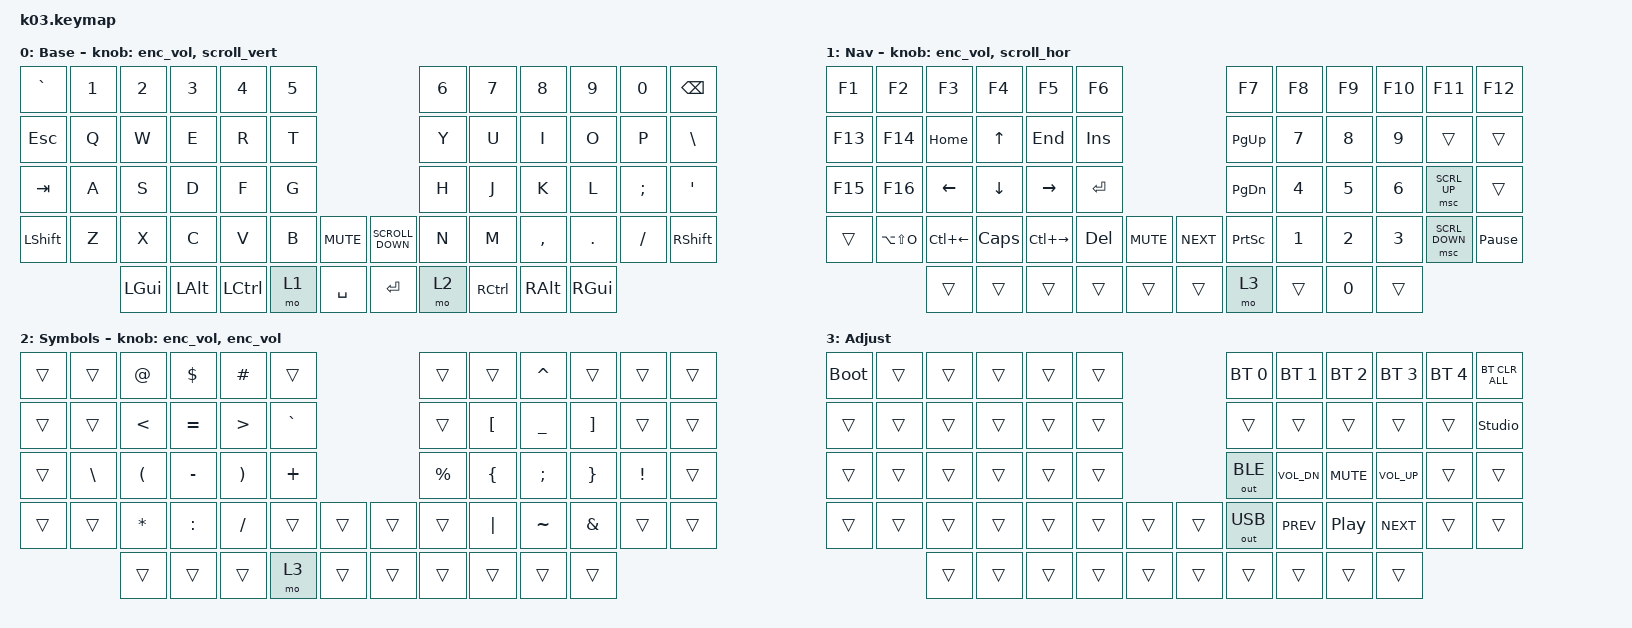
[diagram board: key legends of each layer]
#include "keys_ru.h"
#include <behaviors.dtsi>
#include <dt-bindings/zmk/bt.h>
#include <dt-bindings/zmk/keys.h>
#include <dt-bindings/zmk/outputs.h>
#include <dt-bindings/zmk/pointing.h>

/ {
    behaviors {
        enc_vol: enc_vol {
            compatible = "zmk,behavior-sensor-rotate";
            label = "ENC_VOL";
            #sensor-binding-cells = <0>;
            bindings = <&kp C_VOL_UP>, <&kp C_VOL_DN>;
        };

        scroll_vert: scroll_vert {
            compatible = "zmk,behavior-sensor-rotate";
            label = "SCROLL_VERT";
            #sensor-binding-cells = <0>;
            bindings = <&msc SCRL_UP>, <&msc SCRL_DOWN>;
        };

        scroll_hor: scroll_hor {
            compatible = "zmk,behavior-sensor-rotate";
            label = "SCROLL_HOR";
            #sensor-binding-cells = <0>;
            bindings = <&msc SCRL_RIGHT>, <&msc SCRL_LEFT>;
        };
    };

    keymap {
        compatible = "zmk,keymap";

        base {
            bindings = <
&kp GRAVE  &kp N1  &kp N2    &kp N3    &kp N4     &kp N5                                   &kp N6  &kp N7     &kp N8     &kp N9    &kp N0    &kp BSPC
&kp ESC    &kp Q   &kp W     &kp E     &kp R      &kp T                                    &kp Y   &kp U      &kp I      &kp O     &kp P     &kp BSLH
&kp TAB    &kp A   &kp S     &kp D     &kp F      &kp G                                    &kp H   &kp J      &kp K      &kp L     &kp SEMI  &kp SQT
&kp LSHFT  &kp Z   &kp X     &kp C     &kp V      &kp B   &kp K_MUTE    &kp K_SCROLL_DOWN  &kp N   &kp M      &kp COMMA  &kp DOT   &kp FSLH  &kp RSHFT
                   &kp LGUI  &kp LALT  &kp LCTRL  &mo 1   &kp SPACE     &kp ENTER          &mo 2   &kp RCTRL  &kp RALT   &kp RGUI
            >;

            display-name = "Base";
            sensor-bindings = <&enc_vol>, <&scroll_vert>;
        };

        nav {
            bindings = <
&kp F1   &kp F2         &kp F3        &kp F4    &kp F5         &kp F6                             &kp F7           &kp F8  &kp F9  &kp F10  &kp F11         &kp F12
&kp F13  &kp F14        &kp HOME      &kp UP    &kp END        &kp INS                            &kp PG_UP        &kp N7  &kp N8  &kp N9   &trans          &trans
&kp F15  &kp F16        &kp LEFT      &kp DOWN  &kp RIGHT      &kp RET                            &kp PG_DN        &kp N4  &kp N5  &kp N6   &msc SCRL_UP    &trans
&trans   &kp LA(LS(O))  &kp LC(LEFT)  &kp CAPS  &kp LC(RIGHT)  &kp DEL  &kp K_MUTE    &kp C_NEXT  &kp PRINTSCREEN  &kp N1  &kp N2  &kp N3   &msc SCRL_DOWN  &kp PAUSE_BREAK
                        &trans        &trans    &trans         &trans   &trans        &trans      &mo 3            &trans  &kp N0  &trans
            >;

            display-name = "Nav";
            sensor-bindings = <&enc_vol>, <&scroll_hor>;
        };

        sym {
            bindings = <
&trans  &trans    &kp AT    &kp DLLR   &kp HASH  &trans                       &trans     &trans    &kp CARET  &trans    &trans    &trans
&trans  &trans    &kp LT    &kp EQUAL  &kp GT    &kp GRAVE                    &trans     &kp LBKT  &kp UNDER  &kp RBKT  &trans    &trans
&trans  &kp BSLH  &kp LPAR  &kp MINUS  &kp RPAR  &kp PLUS                     &kp PRCNT  &kp LBRC  &kp SEMI   &kp RBRC  &kp EXCL  &trans
&trans  &trans    &kp STAR  &kp COLON  &kp FSLH  &trans     &trans    &trans  &trans     &kp PIPE  &kp TILDE  &kp AMPS  &trans    &trans
                  &trans    &trans     &trans    &mo 3      &trans    &trans  &trans     &trans    &trans     &trans
            >;

            display-name = "Symbols";
            sensor-bindings = <&enc_vol>, <&enc_vol>;
        };

        adj {
            bindings = <
&bootloader  &trans  &trans  &trans  &trans  &trans                    &bt BT_SEL 0  &bt BT_SEL 1  &bt BT_SEL 2      &bt BT_SEL 3  &bt BT_SEL 4  &bt BT_CLR_ALL
&trans       &trans  &trans  &trans  &trans  &trans                    &trans        &trans        &trans            &trans        &trans        &studio_unlock
&trans       &trans  &trans  &trans  &trans  &trans                    &out OUT_BLE  &kp C_VOL_DN  &kp C_MUTE        &kp C_VOL_UP  &trans        &trans
&trans       &trans  &trans  &trans  &trans  &trans  &trans    &trans  &out OUT_USB  &kp C_PREV    &kp C_PLAY_PAUSE  &kp C_NEXT    &trans        &trans
                     &trans  &trans  &trans  &trans  &trans    &trans  &trans        &trans        &trans            &trans
            >;

            display-name = "Adjust";
        };
    };
};
